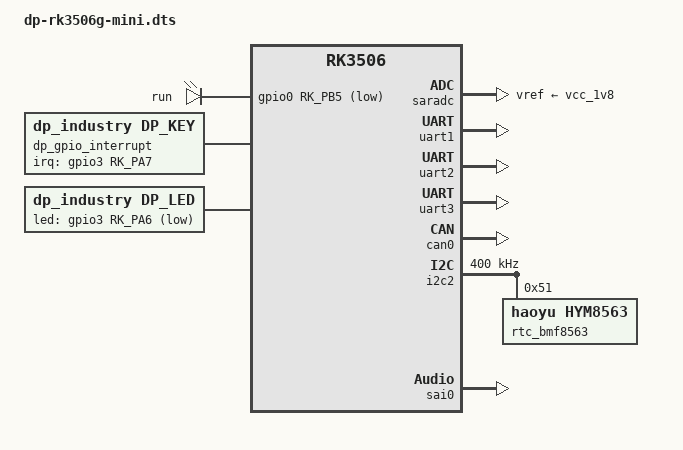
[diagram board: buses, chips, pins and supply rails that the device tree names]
// SPDX-License-Identifier: (GPL-2.0+ OR MIT)
/*
 * Copyright (c) 2024 Rockchip Electronics Co., Ltd.
 */

/dts-v1/;

#include "rk3506.dtsi"
#include "rk3502.dtsi"
#include "rk3506g-mini-v10.dtsi"
//#include "rk3506g-mini-v10-mipi.dtsi"
#include "rk3506g-mini-v10-rgb.dtsi"

/ {
	// LED
	leds {
		compatible = "gpio-leds";
		status = "okay";
		heart_led {
			label = "run";
			gpios = <&gpio0 RK_PB5 GPIO_ACTIVE_LOW>;
			linux,default-trigger = "heartbeat";
			default-state = "off";
		};
	};

	// KEY
	adc_keys: adc-keys {
		compatible = "adc-keys";
		status = "disabled";
		io-channels = <&saradc 2>;
		io-channel-names = "buttons";
		keyup-threshold-microvolt = <1800000>;
		poll-interval = <100>;

		vol-up-key {
			label = "key 1";
			linux,code = <KEY_1>;
			press-threshold-microvolt = <575000>;
		};

		vol-down-key {
			label = "key 2";
			linux,code = <KEY_2>;
			press-threshold-microvolt = <1125000>;
		};
	};

	reserved-memory {
		#address-cells = <1>;
		#size-cells = <1>;
		ranges;

		linux,cma {
			compatible = "shared-dma-pool";
			inactive;
			reusable;
			size = <0x1000000>;
			linux,cma-default;
		};

		drm_logo: drm-logo@0 {
			compatible = "rockchip,drm-logo";
			reg = <0x0 0x0>;
		};
	};

	dp_gpio_interrupt: dp-gpio-interrupt {
		compatible = "dp_industry,dp_key";
        pinctrl-names = "default";
        pinctrl-0 = <&key_gpio3_a7>;

        interrupt-parent = <&gpio3>;
        interrupts = <RK_PA7 IRQ_TYPE_EDGE_FALLING>;
		leds = <&dp_led>;
		status = "okay";
	};

	dp_led: dp-led {
		compatible = "dp_industry,dp_led";
		pinctrl-names = "default";
		pinctrl-0 = <&dp_gpio_led>;
		led-gpios = <&gpio3 RK_PA6 GPIO_ACTIVE_LOW>;
		status = "okay";
	};

	/*
	 * codec 节点：用内核现成的驱动 sound/soc/codecs/max98357a.c
	 * MAX98357A 没有寄存器/I2C，不需要 reg，但必须有 #sound-dai-cells，
	 * 否则 <&max98357a> 无法被解析成 sound-dai。
	 */
	pcm5102: pcm5102 {
		compatible = "ti,pcm5102a";
		#sound-dai-cells = <0>;
		status = "okay";
	};

	/*
	 * machine 节点：用内核现成的驱动 sound/soc/generic/simple-card.c
	 * 标签只能带下划线（dtc 的 LABEL 规则是 [a-zA-Z_][a-zA-Z0-9_]*），
	 * 节点名仍可保留带 '-' 的 sai0-sound。
	 */
	sai0_sound: sai0-sound {
		compatible = "simple-audio-card";
		simple-audio-card,name = "rk3506-pcm5102";
		simple-audio-card,format = "i2s";
		simple-audio-card,mclk-fs = <256>;
		simple-audio-card,bitclock-master = <&sai0_cpu>;
		simple-audio-card,frame-master = <&sai0_cpu>;

		sai0_cpu: simple-audio-card,cpu {
			sound-dai = <&sai0>;
		};

		simple-audio-card,codec {
			sound-dai = <&pcm5102>;
			clocks = <&mclkout_sai0>;
		};
	};

	/*
	 * 以后要用自己写的 machine 驱动（driver_pratice/alsa_max98357out/alsa-max98357.c）
	 * 时，才换成下面这套 dp_industry 前缀，并自己解析 DT
	 * （参考 sound/soc/rockchip/rockchip_multicodecs.c）；用现成驱动时保持注释：
	 *
	 * sai0_my_sound: sai0-my-sound {
	 *	compatible = "dp_industry,max98357-audio-sound";
	 *	dp_industry,name = "max98357-sound";
	 *	dp_industry,format = "i2s";
	 *	dp_industry,mclk-fs = <256>;
	 *	dp_industry,bitclock-master = <&sai0_cpu>;
	 *	dp_industry,frame-master = <&sai0_cpu>;
	 *
	 *	sai0_cpu: dp_industry,cpu {
	 *		sound-dai = <&sai0>;
	 *	};
	 *
	 *	dp_industry,codec {
	 *		sound-dai = <&max98357a>;
	 *	};
	 * };
	 */
};

&saradc {
	vref-supply = <&vcc_1v8>;
	status = "okay";
};

// UART1 - JP3
&uart1 {
	pinctrl-names = "default";
	pinctrl-0 = <&rm_io16_uart1_rx &rm_io17_uart1_tx>;
	status = "okay";
};

// UART1 - JP4
&uart2 {
	pinctrl-names = "default";
	pinctrl-0 = <&rm_io0_uart2_rx &rm_io2_uart2_tx>;
	status = "okay";
};

// UART1 - JP5
&uart3 {
	pinctrl-names = "default";
	pinctrl-0 = <&rm_io15_uart3_rx &rm_io14_uart3_tx>;
	status = "okay";
};

// CAN0 - JP6
&can0 {
	rockchip,rx-max-data = <18>;
	assigned-clocks = <&cru CLK_CAN0>;
	assigned-clock-rates = <200000000>;
	pinctrl-0 = <&rm_io19_can0_tx &rm_io20_can0_rx>;
	pinctrl-names = "default";
	status = "okay";
};

&i2c2 {
	clock-frequency = <400000>;
	pinctrl-names = "default";
	pinctrl-0 = <&rm_io4_i2c2_scl &rm_io5_i2c2_sda>;
	status = "okay";

	// RTC
	rtc_bmf8563: rtc@51 {
		compatible = "haoyu,hym8563";
		reg = <0x51>;
		status = "okay";
	};
};

&sai0 {
	pinctrl-names = "default";
	/*
	 * SAI0 的信号只有两种落点：
	 *  1) 专用脚 GPIO0_A0~A7（功能 1，就是 rk3502.dtsi 里 sai0 默认的
	 *     sai0_lrck/sclk/mclk/sdo/sdi*_pins）；
	 *  2) 任意 RM_IO 球，走 RM_IO 交叉开关（功能号 66~73，
	 *     见 rk3506-pinctrl-rmio.dtsi 里的 rm_ioX_sai0_*）。
	 * 本板 GPIO0_A0/A2/A3/A4/A5 已分给 UART2、背光 PWM、I2C2，
	 * 所以这里改用 RM_IO8/9/10（GPIO0_B0/B1/B2）输出 SCLK/LRCK/SDO。
	 * ！！！功放实际接在哪几根线上，请按原理图替换下面三个 phandle ！！！
	 */
	pinctrl-0 = <&rm_io8_sai0_mclk &rm_io9_sai0_sclk &rm_io10_sai0_sdo &rm_io11_sai0_lrck>;
	status = "okay";
};



&pinctrl {
	/*
	 * rockchip pinctrl 必须两层：
	 *   功能(function)节点  ->  组(group)节点(带 rockchip,pins)
	 * 组平铺在 &pinctrl 下会变成 "groups = [ ]" 的空 function，r
	 * pinctrl-0 引用时就会报 unable to find group for node xxx。
	 */
	led {
		dp_gpio_led: dp_gpio_led {
			rockchip,pins = <3 RK_PA6 RK_FUNC_GPIO &pcfg_pull_none>;
		};

		gpio_led_run: gpio-led-run {
			rockchip,pins = <0 RK_PB5 RK_FUNC_GPIO &pcfg_pull_none>;
		};
	};																							

	key {
		key_gpio4_b2: key-gpio4-b2 {
			rockchip,pins = <4 RK_PB2 RK_FUNC_GPIO &pcfg_pull_up>;
		};
	};
	key-1 {
		key_gpio3_a7: key_gpio3_a7 {
			rockchip,pins = <3 RK_PA7 RK_FUNC_GPIO &pcfg_pull_up>;
		};
	};

	/*
	 * SAI0 不用在这里自定义 group：直接引用 rk3506-pinctrl-rmio.dtsi 里现成的
	 * rm_ioX_sai0_* 组即可（见上面 &sai0 的 pinctrl-0）。
	 *
	 * 特别注意：bank3（GPIO3_x）没有 RM_IO 复用，像 <3 RK_PB0 51> 这种写法会被
	 * drivers/pinctrl/pinctrl-rockchip.c 的 rockchip_set_rmio() 判为非法
	 * （dmesg: rmio unsupported bank_num 3 function 36），
	 * 会让 sai0 在 probe 阶段直接失败。
	 */
};
